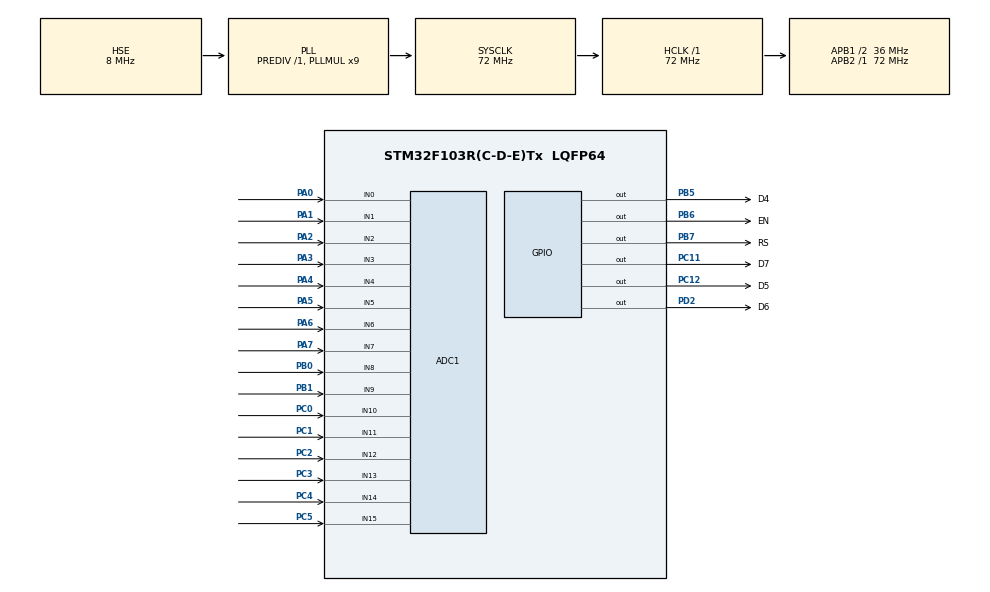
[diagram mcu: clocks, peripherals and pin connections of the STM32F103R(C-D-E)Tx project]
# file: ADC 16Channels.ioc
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ADC1.Channel-0\#ChannelRegularConversion=ADC_CHANNEL_0
ADC1.Channel-1\#ChannelRegularConversion=ADC_CHANNEL_1
ADC1.Channel-10\#ChannelRegularConversion=ADC_CHANNEL_10
ADC1.Channel-11\#ChannelRegularConversion=ADC_CHANNEL_11
ADC1.Channel-12\#ChannelRegularConversion=ADC_CHANNEL_12
ADC1.Channel-13\#ChannelRegularConversion=ADC_CHANNEL_13
ADC1.Channel-14\#ChannelRegularConversion=ADC_CHANNEL_14
ADC1.Channel-15\#ChannelRegularConversion=ADC_CHANNEL_15
ADC1.Channel-2\#ChannelRegularConversion=ADC_CHANNEL_2
ADC1.Channel-3\#ChannelRegularConversion=ADC_CHANNEL_3
ADC1.Channel-4\#ChannelRegularConversion=ADC_CHANNEL_4
ADC1.Channel-5\#ChannelRegularConversion=ADC_CHANNEL_5
ADC1.Channel-6\#ChannelRegularConversion=ADC_CHANNEL_6
ADC1.Channel-7\#ChannelRegularConversion=ADC_CHANNEL_7
ADC1.Channel-8\#ChannelRegularConversion=ADC_CHANNEL_8
ADC1.Channel-9\#ChannelRegularConversion=ADC_CHANNEL_9
ADC1.NbrOfConversion=16
ADC1.NbrOfConversionFlag=1
ADC1.Rank-0\#ChannelRegularConversion=1
ADC1.Rank-1\#ChannelRegularConversion=2
ADC1.Rank-10\#ChannelRegularConversion=11
ADC1.Rank-11\#ChannelRegularConversion=12
ADC1.Rank-12\#ChannelRegularConversion=13
ADC1.Rank-13\#ChannelRegularConversion=14
ADC1.Rank-14\#ChannelRegularConversion=15
ADC1.Rank-15\#ChannelRegularConversion=16
ADC1.Rank-2\#ChannelRegularConversion=3
ADC1.Rank-3\#ChannelRegularConversion=4
ADC1.Rank-4\#ChannelRegularConversion=5
ADC1.Rank-5\#ChannelRegularConversion=6
ADC1.Rank-6\#ChannelRegularConversion=7
ADC1.Rank-7\#ChannelRegularConversion=8
ADC1.Rank-8\#ChannelRegularConversion=9
ADC1.Rank-9\#ChannelRegularConversion=10
ADC1.SamplingTime-0\#ChannelRegularConversion=ADC_SAMPLETIME_1CYCLE_5
ADC1.SamplingTime-1\#ChannelRegularConversion=ADC_SAMPLETIME_1CYCLE_5
ADC1.SamplingTime-10\#ChannelRegularConversion=ADC_SAMPLETIME_1CYCLE_5
ADC1.SamplingTime-11\#ChannelRegularConversion=ADC_SAMPLETIME_1CYCLE_5
ADC1.SamplingTime-12\#ChannelRegularConversion=ADC_SAMPLETIME_1CYCLE_5
ADC1.SamplingTime-13\#ChannelRegularConversion=ADC_SAMPLETIME_1CYCLE_5
ADC1.SamplingTime-14\#ChannelRegularConversion=ADC_SAMPLETIME_1CYCLE_5
ADC1.SamplingTime-15\#ChannelRegularConversion=ADC_SAMPLETIME_1CYCLE_5
ADC1.SamplingTime-2\#ChannelRegularConversion=ADC_SAMPLETIME_1CYCLE_5
ADC1.SamplingTime-3\#ChannelRegularConversion=ADC_SAMPLETIME_1CYCLE_5
ADC1.SamplingTime-4\#ChannelRegularConversion=ADC_SAMPLETIME_1CYCLE_5
ADC1.SamplingTime-5\#ChannelRegularConversion=ADC_SAMPLETIME_1CYCLE_5
ADC1.SamplingTime-6\#ChannelRegularConversion=ADC_SAMPLETIME_1CYCLE_5
ADC1.SamplingTime-7\#ChannelRegularConversion=ADC_SAMPLETIME_1CYCLE_5
ADC1.SamplingTime-8\#ChannelRegularConversion=ADC_SAMPLETIME_1CYCLE_5
ADC1.SamplingTime-9\#ChannelRegularConversion=ADC_SAMPLETIME_1CYCLE_5
ADC1.master=1
Dma.ADC1.0.Direction=DMA_PERIPH_TO_MEMORY
Dma.ADC1.0.Instance=DMA1_Channel1
Dma.ADC1.0.MemDataAlignment=DMA_MDATAALIGN_HALFWORD
Dma.ADC1.0.MemInc=DMA_MINC_ENABLE
Dma.ADC1.0.Mode=DMA_CIRCULAR
Dma.ADC1.0.PeriphDataAlignment=DMA_PDATAALIGN_HALFWORD
Dma.ADC1.0.PeriphInc=DMA_PINC_DISABLE
Dma.ADC1.0.Priority=DMA_PRIORITY_LOW
Dma.Request0=ADC1
Mcu.Family=STM32F1
Mcu.Name=STM32F103R(C-D-E)Tx
Mcu.Package=LQFP64
NVIC.DMA1_Channel1_IRQn=true\:0\:0\:false\:false\:true\:true\:true
NVIC.PriorityGroup=NVIC_PRIORITYGROUP_4
PA0-WKUP.Signal=ADCx_IN0
PA1.Signal=ADCx_IN1
PA13.Mode=Serial_Wire
PA13.Signal=SYS_JTMS-SWDIO
PA14.Mode=Serial_Wire
PA14.Signal=SYS_JTCK-SWCLK
PA2.Signal=ADCx_IN2
PA3.Signal=ADCx_IN3
PA4.Signal=ADCx_IN4
PA5.Signal=ADCx_IN5
PA6.Signal=ADCx_IN6
PA7.Signal=ADCx_IN7
PB0.Signal=ADCx_IN8
PB1.Signal=ADCx_IN9
PB5.GPIO_Label=D4
PB5.Signal=GPIO_Output
PB6.GPIO_Label=EN
PB6.Signal=GPIO_Output
PB7.GPIO_Label=RS
PB7.Signal=GPIO_Output
PC0.Signal=ADCx_IN10
PC1.Signal=ADCx_IN11
PC11.GPIO_Label=D7
PC11.Signal=GPIO_Output
PC12.GPIO_Label=D5
PC12.Signal=GPIO_Output
PC2.Signal=ADCx_IN12
PC3.Signal=ADCx_IN13
PC4.Signal=ADCx_IN14
PC5.Signal=ADCx_IN15
PD0-OSC_IN.Mode=HSE-External-Oscillator
PD0-OSC_IN.Signal=RCC_OSC_IN
PD1-OSC_OUT.Mode=HSE-External-Oscillator
PD1-OSC_OUT.Signal=RCC_OSC_OUT
PD2.GPIO_Label=D6
PD2.Signal=GPIO_Output
ProjectManager.HeapSize=0x200
ProjectManager.StackSize=0x400
ProjectManager.TargetToolchain=MDK-ARM V5
RCC.ADCPresc=RCC_ADCPCLK2_DIV6
RCC.AHBFreq_Value=72000000
RCC.APB1CLKDivider=RCC_HCLK_DIV2
RCC.APB1Freq_Value=36000000
RCC.APB1TimCLKDivider=1
RCC.APB1TimFreq_Value=36000000
RCC.APB2Freq_Value=72000000
RCC.APB2TimFreq_Value=72000000
RCC.HCLKFreq_Value=72000000
RCC.PLLMUL=RCC_PLL_MUL9
RCC.PLLSourceVirtual=RCC_PLLSOURCE_HSE
RCC.SYSCLKFreq_VALUE=72000000
RCC.SYSCLKSource=RCC_SYSCLKSOURCE_PLLCLK
RCC.USBFreq_Value=72000000
SH.ADCx_IN0.0=ADC1_IN0,IN0
SH.ADCx_IN1.0=ADC1_IN1,IN1
SH.ADCx_IN10.0=ADC1_IN10,IN10
SH.ADCx_IN11.0=ADC1_IN11,IN11
SH.ADCx_IN12.0=ADC1_IN12,IN12
SH.ADCx_IN13.0=ADC1_IN13,IN13
SH.ADCx_IN14.0=ADC1_IN14,IN14
SH.ADCx_IN15.0=ADC1_IN15,IN15
SH.ADCx_IN2.0=ADC1_IN2,IN2
SH.ADCx_IN3.0=ADC1_IN3,IN3
SH.ADCx_IN4.0=ADC1_IN4,IN4
SH.ADCx_IN5.0=ADC1_IN5,IN5
SH.ADCx_IN6.0=ADC1_IN6,IN6
SH.ADCx_IN7.0=ADC1_IN7,IN7
SH.ADCx_IN8.0=ADC1_IN8,IN8
SH.ADCx_IN9.0=ADC1_IN9,IN9
board=ADC 16Channels

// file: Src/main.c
/* USER CODE BEGIN Header */
/**
  ******************************************************************************
  * @file           : main.c
  * @brief          : Main program body
  ******************************************************************************
  * @attention
  *
  * <h2><center>&copy; Copyright (c) 2020 STMicroelectronics.
  * All rights reserved.</center></h2>
  *
  * This software component is licensed by ST under BSD 3-Clause license,
  * the "License"; You may not use this file except in compliance with the
  * License. You may obtain a copy of the License at:
  *                        opensource.org/licenses/BSD-3-Clause
  *
  ******************************************************************************
  */
/* USER CODE END Header */

#include "main.h"

/* USER CODE BEGIN Includes */
#include <stdio.h>
#define GPIO_PIN_SET 1
#define GPIO_PIN_RESET 0
#define RS_Port GPIOB
#define EN_Port GPIOB
#define D4_Port GPIOB
#define D5_Port GPIOC
#define D6_Port GPIOD
#define D7_Port GPIOC
uint16_t ADC_Value[16];

unsigned char DATA0[30];
unsigned char DATA1[30];
unsigned char DATA2[30];
unsigned char DATA3[30];
/* USER CODE END Includes */

ADC_HandleTypeDef hadc1;
DMA_HandleTypeDef hdma_adc1;

/* USER CODE BEGIN PV */
/* Private variables ---------------------------------------------------------*/

/* USER CODE END PV */

void SystemClock_Config(void);
static void MX_GPIO_Init(void);
static void MX_DMA_Init(void);
static void MX_ADC1_Init(void);
/* USER CODE BEGIN PFP */
/* Private function prototypes -----------------------------------------------*/

/* USER CODE END PFP */

/* USER CODE BEGIN 0 */
void LCD_Enable()
{
HAL_GPIO_WritePin(EN_Port,EN_Pin,1);
HAL_Delay(1);
HAL_GPIO_WritePin(EN_Port,EN_Pin,0);
HAL_Delay(1);
}

void LCD_Send4Bit(unsigned char Data)
{
HAL_GPIO_WritePin(D4_Port,D4_Pin,Data&0x01);
HAL_GPIO_WritePin(D5_Port,D5_Pin,(Data>>1)&0x01);
HAL_GPIO_WritePin(D6_Port,D6_Pin,(Data>>2)&0x01);
HAL_GPIO_WritePin(D7_Port,D7_Pin,(Data>>3)&0x01);
}

void LCD_SendCommand(unsigned char command)
{
	LCD_Send4Bit(command >>4);
	LCD_Enable();
	LCD_Send4Bit(command);
	LCD_Enable();
}

void LCD_Clear()
{
 	LCD_SendCommand(0x01);
  HAL_Delay(1);
}

void LCD_Init()
{
	LCD_Send4Bit(0x00);
  HAL_GPIO_WritePin(RS_Port,RS_Pin,0);
	LCD_Send4Bit(0x03);
	LCD_Enable();
	LCD_Enable();
	LCD_Enable();
	LCD_Send4Bit(0x02);
	LCD_Enable();
	LCD_SendCommand(0x28);
	LCD_SendCommand(0x0C);
	LCD_SendCommand(0x06);
	LCD_SendCommand(0x01);
}

void LCD_Gotoxy(unsigned char x, unsigned char y)
{
unsigned char address;
if(y==0)
address=0x80;
else if(y==1)
{
address=0xc0;
}
else if(y==2)
{
address=0x94;
}
else
address=0xd4;
address+=x;
LCD_SendCommand(address);
}

void LCD_PutChar(unsigned char Data)
{
  HAL_GPIO_WritePin(RS_Port,RS_Pin,1);
 	LCD_SendCommand(Data);
  HAL_GPIO_WritePin(RS_Port,RS_Pin,0);
}

void LCD_Puts(char *s)
{
   	while (*s){
      	LCD_PutChar(*s);
     	s++;
   	}
}
/* USER CODE END 0 */

int main(void)
{

  /* MCU Configuration--------------------------------------------------------*/

  /* Reset of all peripherals, Initializes the Flash interface and the Systick. */
  HAL_Init();

  /* Configure the system clock */
  SystemClock_Config();

  /* Initialize all configured peripherals */
  MX_GPIO_Init();
  MX_DMA_Init();
  MX_ADC1_Init();
  /* USER CODE BEGIN 2 */
LCD_Init();
  /* USER CODE END 2 */

  /* Infinite loop */
  while (1)
  {

    /* USER CODE BEGIN 3 */
	HAL_ADC_Start_DMA(&hadc1,(uint32_t*)&ADC_Value,16);
HAL_Delay(1);
HAL_ADC_Stop_DMA(&hadc1);
LCD_Gotoxy(0,0); sprintf(DATA0,"%d %d %d %d ",ADC_Value[0],ADC_Value[1],ADC_Value[2],ADC_Value[3]); LCD_Puts(DATA0);
LCD_Gotoxy(0,1); sprintf(DATA1,"%d %d %d %d ",ADC_Value[4],ADC_Value[5],ADC_Value[6],ADC_Value[7]); LCD_Puts(DATA1);
LCD_Gotoxy(0,2); sprintf(DATA2,"%d %d %d %d ",ADC_Value[8],ADC_Value[9],ADC_Value[10],ADC_Value[11]); LCD_Puts(DATA2);
LCD_Gotoxy(0,3); sprintf(DATA3,"%d %d %d %d ",ADC_Value[12],ADC_Value[13],ADC_Value[14],ADC_Value[15]); LCD_Puts(DATA3);

  }
  /* USER CODE END 3 */
}

void SystemClock_Config(void)
{
  RCC_OscInitTypeDef RCC_OscInitStruct = {0};
  RCC_ClkInitTypeDef RCC_ClkInitStruct = {0};
  RCC_PeriphCLKInitTypeDef PeriphClkInit = {0};

  /** Initializes the CPU, AHB and APB busses clocks
  */
  RCC_OscInitStruct.OscillatorType = RCC_OSCILLATORTYPE_HSE;
  RCC_OscInitStruct.HSEState = RCC_HSE_ON;
  RCC_OscInitStruct.HSEPredivValue = RCC_HSE_PREDIV_DIV1;
  RCC_OscInitStruct.HSIState = RCC_HSI_ON;
  RCC_OscInitStruct.PLL.PLLState = RCC_PLL_ON;
  RCC_OscInitStruct.PLL.PLLSource = RCC_PLLSOURCE_HSE;
  RCC_OscInitStruct.PLL.PLLMUL = RCC_PLL_MUL9;
  if (HAL_RCC_OscConfig(&RCC_OscInitStruct) != HAL_OK)
  {
    Error_Handler();
  }
  /** Initializes the CPU, AHB and APB busses clocks
  */
  RCC_ClkInitStruct.ClockType = RCC_CLOCKTYPE_HCLK|RCC_CLOCKTYPE_SYSCLK
                              |RCC_CLOCKTYPE_PCLK1|RCC_CLOCKTYPE_PCLK2;
  RCC_ClkInitStruct.SYSCLKSource = RCC_SYSCLKSOURCE_PLLCLK;
  RCC_ClkInitStruct.AHBCLKDivider = RCC_SYSCLK_DIV1;
  RCC_ClkInitStruct.APB1CLKDivider = RCC_HCLK_DIV2;
  RCC_ClkInitStruct.APB2CLKDivider = RCC_HCLK_DIV1;

  if (HAL_RCC_ClockConfig(&RCC_ClkInitStruct, FLASH_LATENCY_2) != HAL_OK)
  {
    Error_Handler();
  }
  PeriphClkInit.PeriphClockSelection = RCC_PERIPHCLK_ADC;
  PeriphClkInit.AdcClockSelection = RCC_ADCPCLK2_DIV6;
  if (HAL_RCCEx_PeriphCLKConfig(&PeriphClkInit) != HAL_OK)
  {
    Error_Handler();
  }
}

static void MX_ADC1_Init(void)
{

  ADC_ChannelConfTypeDef sConfig = {0};

  /** Common config
  */
  hadc1.Instance = ADC1;
  hadc1.Init.ScanConvMode = ADC_SCAN_ENABLE;
  hadc1.Init.ContinuousConvMode = DISABLE;
  hadc1.Init.DiscontinuousConvMode = DISABLE;
  hadc1.Init.ExternalTrigConv = ADC_SOFTWARE_START;
  hadc1.Init.DataAlign = ADC_DATAALIGN_RIGHT;
  hadc1.Init.NbrOfConversion = 16;
  if (HAL_ADC_Init(&hadc1) != HAL_OK)
  {
    Error_Handler();
  }
  /** Configure Regular Channel
  */
  sConfig.Channel = ADC_CHANNEL_0;
  sConfig.Rank = ADC_REGULAR_RANK_1;
  sConfig.SamplingTime = ADC_SAMPLETIME_1CYCLE_5;
  if (HAL_ADC_ConfigChannel(&hadc1, &sConfig) != HAL_OK)
  {
    Error_Handler();
  }
  /** Configure Regular Channel
  */
  sConfig.Channel = ADC_CHANNEL_1;
  sConfig.Rank = ADC_REGULAR_RANK_2;
  if (HAL_ADC_ConfigChannel(&hadc1, &sConfig) != HAL_OK)
  {
    Error_Handler();
  }
  /** Configure Regular Channel
  */
  sConfig.Channel = ADC_CHANNEL_2;
  sConfig.Rank = ADC_REGULAR_RANK_3;
  if (HAL_ADC_ConfigChannel(&hadc1, &sConfig) != HAL_OK)
  {
    Error_Handler();
  }
  /** Configure Regular Channel
  */
  sConfig.Channel = ADC_CHANNEL_3;
  sConfig.Rank = ADC_REGULAR_RANK_4;
  if (HAL_ADC_ConfigChannel(&hadc1, &sConfig) != HAL_OK)
  {
    Error_Handler();
  }
  /** Configure Regular Channel
  */
  sConfig.Channel = ADC_CHANNEL_4;
  sConfig.Rank = ADC_REGULAR_RANK_5;
  if (HAL_ADC_ConfigChannel(&hadc1, &sConfig) != HAL_OK)
  {
    Error_Handler();
  }
  /** Configure Regular Channel
  */
  sConfig.Channel = ADC_CHANNEL_5;
  sConfig.Rank = ADC_REGULAR_RANK_6;
  if (HAL_ADC_ConfigChannel(&hadc1, &sConfig) != HAL_OK)
  {
    Error_Handler();
  }
  /** Configure Regular Channel
  */
  sConfig.Channel = ADC_CHANNEL_6;
  sConfig.Rank = ADC_REGULAR_RANK_7;
  if (HAL_ADC_ConfigChannel(&hadc1, &sConfig) != HAL_OK)
  {
    Error_Handler();
  }
  /** Configure Regular Channel
  */
  sConfig.Channel = ADC_CHANNEL_7;
  sConfig.Rank = ADC_REGULAR_RANK_8;
  if (HAL_ADC_ConfigChannel(&hadc1, &sConfig) != HAL_OK)
  {
    Error_Handler();
  }
  /** Configure Regular Channel
  */
  sConfig.Channel = ADC_CHANNEL_8;
  sConfig.Rank = ADC_REGULAR_RANK_9;
  if (HAL_ADC_ConfigChannel(&hadc1, &sConfig) != HAL_OK)
  {
    Error_Handler();
  }
  /** Configure Regular Channel
  */
  sConfig.Channel = ADC_CHANNEL_9;
  sConfig.Rank = ADC_REGULAR_RANK_10;
  if (HAL_ADC_ConfigChannel(&hadc1, &sConfig) != HAL_OK)
  {
    Error_Handler();
  }
  /** Configure Regular Channel
  */
  sConfig.Channel = ADC_CHANNEL_10;
  sConfig.Rank = ADC_REGULAR_RANK_11;
  if (HAL_ADC_ConfigChannel(&hadc1, &sConfig) != HAL_OK)
  {
    Error_Handler();
  }
  /** Configure Regular Channel
  */
  sConfig.Channel = ADC_CHANNEL_11;
  sConfig.Rank = ADC_REGULAR_RANK_12;
  if (HAL_ADC_ConfigChannel(&hadc1, &sConfig) != HAL_OK)
  {
    Error_Handler();
  }
  /** Configure Regular Channel
  */
  sConfig.Channel = ADC_CHANNEL_12;
  sConfig.Rank = ADC_REGULAR_RANK_13;
  if (HAL_ADC_ConfigChannel(&hadc1, &sConfig) != HAL_OK)
  {
    Error_Handler();
  }
  /** Configure Regular Channel
  */
  sConfig.Channel = ADC_CHANNEL_13;
  sConfig.Rank = ADC_REGULAR_RANK_14;
  if (HAL_ADC_ConfigChannel(&hadc1, &sConfig) != HAL_OK)
  {
    Error_Handler();
  }
  /** Configure Regular Channel
  */
  sConfig.Channel = ADC_CHANNEL_14;
  sConfig.Rank = ADC_REGULAR_RANK_15;
  if (HAL_ADC_ConfigChannel(&hadc1, &sConfig) != HAL_OK)
  {
    Error_Handler();
  }
  /** Configure Regular Channel
  */
  sConfig.Channel = ADC_CHANNEL_15;
  sConfig.Rank = ADC_REGULAR_RANK_16;
  if (HAL_ADC_ConfigChannel(&hadc1, &sConfig) != HAL_OK)
  {
    Error_Handler();
  }

}

static void MX_DMA_Init(void)
{

  /* DMA controller clock enable */
  __HAL_RCC_DMA1_CLK_ENABLE();

  /* DMA interrupt init */
  /* DMA1_Channel1_IRQn interrupt configuration */
  HAL_NVIC_SetPriority(DMA1_Channel1_IRQn, 0, 0);
  HAL_NVIC_EnableIRQ(DMA1_Channel1_IRQn);

}

static void MX_GPIO_Init(void)
{
  GPIO_InitTypeDef GPIO_InitStruct = {0};

  /* GPIO Ports Clock Enable */
  __HAL_RCC_GPIOD_CLK_ENABLE();
  __HAL_RCC_GPIOC_CLK_ENABLE();
  __HAL_RCC_GPIOA_CLK_ENABLE();
  __HAL_RCC_GPIOB_CLK_ENABLE();

  /*Configure GPIO pin Output Level */
  HAL_GPIO_WritePin(GPIOC, D7_Pin|D5_Pin, GPIO_PIN_RESET);

  /*Configure GPIO pin Output Level */
  HAL_GPIO_WritePin(D6_GPIO_Port, D6_Pin, GPIO_PIN_RESET);

  /*Configure GPIO pin Output Level */
  HAL_GPIO_WritePin(GPIOB, D4_Pin|EN_Pin|RS_Pin, GPIO_PIN_RESET);

  /*Configure GPIO pins : D7_Pin D5_Pin */
  GPIO_InitStruct.Pin = D7_Pin|D5_Pin;
  GPIO_InitStruct.Mode = GPIO_MODE_OUTPUT_PP;
  GPIO_InitStruct.Pull = GPIO_NOPULL;
  GPIO_InitStruct.Speed = GPIO_SPEED_FREQ_LOW;
  HAL_GPIO_Init(GPIOC, &GPIO_InitStruct);

  /*Configure GPIO pin : D6_Pin */
  GPIO_InitStruct.Pin = D6_Pin;
  GPIO_InitStruct.Mode = GPIO_MODE_OUTPUT_PP;
  GPIO_InitStruct.Pull = GPIO_NOPULL;
  GPIO_InitStruct.Speed = GPIO_SPEED_FREQ_LOW;
  HAL_GPIO_Init(D6_GPIO_Port, &GPIO_InitStruct);

  /*Configure GPIO pins : D4_Pin EN_Pin RS_Pin */
  GPIO_InitStruct.Pin = D4_Pin|EN_Pin|RS_Pin;
  GPIO_InitStruct.Mode = GPIO_MODE_OUTPUT_PP;
  GPIO_InitStruct.Pull = GPIO_NOPULL;
  GPIO_InitStruct.Speed = GPIO_SPEED_FREQ_LOW;
  HAL_GPIO_Init(GPIOB, &GPIO_InitStruct);

}

void Error_Handler(void)
{
}

/************************ (C) COPYRIGHT STMicroelectronics *****END OF FILE****/
